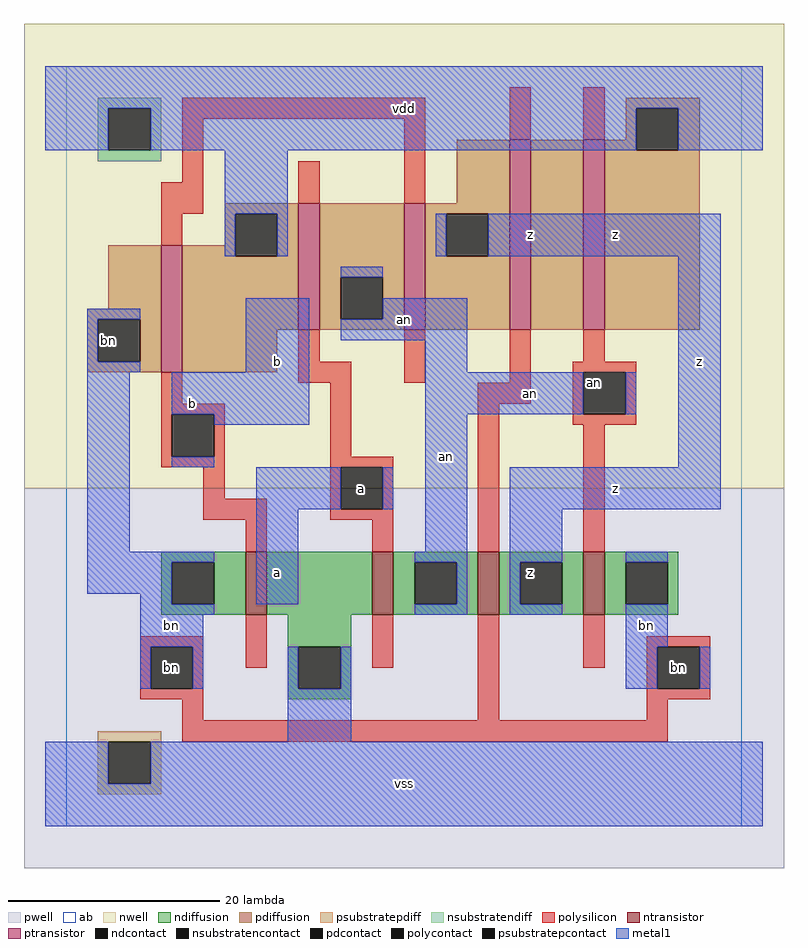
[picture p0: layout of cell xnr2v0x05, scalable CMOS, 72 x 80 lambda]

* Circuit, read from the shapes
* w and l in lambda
.subckt xnr2v0x05 a an b bn vdd vss z
M1 vss b bn vss nfet w=6 l=2
M2 an a vss vss nfet w=6 l=2
M3 z bn an vss nfet w=6 l=2
M4 bn an z vss nfet w=6 l=2
M5 vdd b bn vdd pfet w=12 l=2
M6 an a vdd vdd pfet w=12 l=2
M7 z b an vdd pfet w=12 l=2
M8 n1 bn z vdd pfet w=18 l=2
M9 vdd an n1 vdd pfet w=18 l=2
.ends

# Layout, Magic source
magic
tech scmos
<< ab >>
rect 0 0 64 72
<< pwell >>
rect -4 -4 68 32
<< nwell >>
rect -4 32 68 76
<< polysilicon >>
rect 11 67 34 69
rect 11 61 13 67
rect 9 58 13 61
rect 22 59 24 63
rect 32 59 34 67
rect 42 65 44 70
rect 49 65 51 70
rect 9 55 11 58
rect 22 44 24 47
rect 9 40 11 43
rect 22 42 27 44
rect 32 42 34 47
rect 42 42 44 47
rect 49 44 51 47
rect 9 39 15 40
rect 9 35 10 39
rect 14 35 15 39
rect 9 34 15 35
rect 13 31 15 34
rect 25 35 27 42
rect 39 40 44 42
rect 48 43 54 44
rect 25 34 31 35
rect 13 29 19 31
rect 25 30 26 34
rect 30 30 31 34
rect 25 29 31 30
rect 17 26 19 29
rect 29 26 31 29
rect 39 26 41 40
rect 48 39 49 43
rect 53 39 54 43
rect 48 38 54 39
rect 49 26 51 38
rect 7 17 13 18
rect 7 13 8 17
rect 12 13 13 17
rect 17 15 19 20
rect 7 12 13 13
rect 29 15 31 20
rect 11 10 13 12
rect 39 10 41 20
rect 49 15 51 20
rect 55 17 61 18
rect 55 13 56 17
rect 60 13 61 17
rect 55 12 61 13
rect 55 10 57 12
rect 11 8 57 10
<< ndiffusion >>
rect 9 25 17 26
rect 9 21 10 25
rect 14 21 17 25
rect 9 20 17 21
rect 19 20 29 26
rect 31 25 39 26
rect 31 21 33 25
rect 37 21 39 25
rect 31 20 39 21
rect 41 25 49 26
rect 41 21 43 25
rect 47 21 49 25
rect 41 20 49 21
rect 51 25 58 26
rect 51 21 53 25
rect 57 21 58 25
rect 51 20 58 21
rect 21 17 27 20
rect 21 13 22 17
rect 26 13 27 17
rect 21 12 27 13
<< pdiffusion >>
rect 53 68 60 69
rect 53 65 54 68
rect 37 59 42 65
rect 15 58 22 59
rect 15 55 16 58
rect 4 49 9 55
rect 2 48 9 49
rect 2 44 3 48
rect 7 44 9 48
rect 2 43 9 44
rect 11 54 16 55
rect 20 54 22 58
rect 11 47 22 54
rect 24 52 32 59
rect 24 48 26 52
rect 30 48 32 52
rect 24 47 32 48
rect 34 58 42 59
rect 34 54 36 58
rect 40 54 42 58
rect 34 47 42 54
rect 44 47 49 65
rect 51 64 54 65
rect 58 64 60 68
rect 51 47 60 64
rect 11 43 20 47
<< metal1 >>
rect -2 68 66 72
rect -2 64 4 68
rect 8 64 54 68
rect 58 64 66 68
rect 15 58 21 64
rect 15 54 16 58
rect 20 54 21 58
rect 35 54 36 58
rect 40 54 62 58
rect 26 52 30 53
rect 2 48 7 49
rect 2 44 3 48
rect 2 43 7 44
rect 17 43 23 50
rect 30 48 38 50
rect 26 46 38 48
rect 2 26 6 43
rect 10 39 23 43
rect 14 38 23 39
rect 34 43 38 46
rect 34 39 49 43
rect 53 39 54 43
rect 10 34 14 35
rect 18 30 26 34
rect 30 30 31 34
rect 2 25 14 26
rect 2 22 10 25
rect 7 21 10 22
rect 18 21 22 30
rect 34 26 38 39
rect 58 34 62 54
rect 33 25 38 26
rect 37 21 38 25
rect 7 20 14 21
rect 33 20 38 21
rect 42 30 62 34
rect 42 25 47 30
rect 42 21 43 25
rect 42 20 47 21
rect 53 25 57 26
rect 7 17 13 20
rect 53 17 57 21
rect 7 13 8 17
rect 12 13 13 17
rect 21 13 22 17
rect 26 13 27 17
rect 53 13 56 17
rect 60 13 61 17
rect 21 8 27 13
rect -2 4 4 8
rect 8 4 66 8
rect -2 0 66 4
<< ntransistor >>
rect 17 20 19 26
rect 29 20 31 26
rect 39 20 41 26
rect 49 20 51 26
<< ptransistor >>
rect 9 43 11 55
rect 22 47 24 59
rect 32 47 34 59
rect 42 47 44 65
rect 49 47 51 65
<< polycontact >>
rect 10 35 14 39
rect 26 30 30 34
rect 49 39 53 43
rect 8 13 12 17
rect 56 13 60 17
<< ndcontact >>
rect 10 21 14 25
rect 33 21 37 25
rect 43 21 47 25
rect 53 21 57 25
rect 22 13 26 17
<< pdcontact >>
rect 3 44 7 48
rect 16 54 20 58
rect 26 48 30 52
rect 36 54 40 58
rect 54 64 58 68
<< psubstratepcontact >>
rect 4 4 8 8
<< nsubstratencontact >>
rect 4 64 8 68
<< psubstratepdiff >>
rect 3 8 9 9
rect 3 4 4 8
rect 8 4 9 8
rect 3 3 9 4
<< nsubstratendiff >>
rect 3 68 9 69
rect 3 64 4 68
rect 8 64 9 68
rect 3 63 9 64
<< labels >>
rlabel polycontact 10 15 10 15 6 bn
rlabel polycontact 58 15 58 15 6 bn
rlabel polycontact 50 42 50 42 6 an
rlabel metal1 10 19 10 19 6 bn
rlabel metal1 12 40 12 40 6 b
rlabel pdcontact 4 46 4 46 6 bn
rlabel polycontact 28 32 28 32 6 a
rlabel metal1 20 24 20 24 6 a
rlabel metal1 20 44 20 44 6 b
rlabel metal1 32 4 32 4 6 vss
rlabel ndcontact 44 24 44 24 6 z
rlabel metal1 36 35 36 35 6 an
rlabel metal1 32 48 32 48 6 an
rlabel metal1 44 56 44 56 6 z
rlabel metal1 32 68 32 68 6 vdd
rlabel metal1 55 19 55 19 6 bn
rlabel metal1 52 32 52 32 6 z
rlabel metal1 44 41 44 41 6 an
rlabel metal1 60 44 60 44 6 z
rlabel metal1 52 56 52 56 6 z
<< end >>
